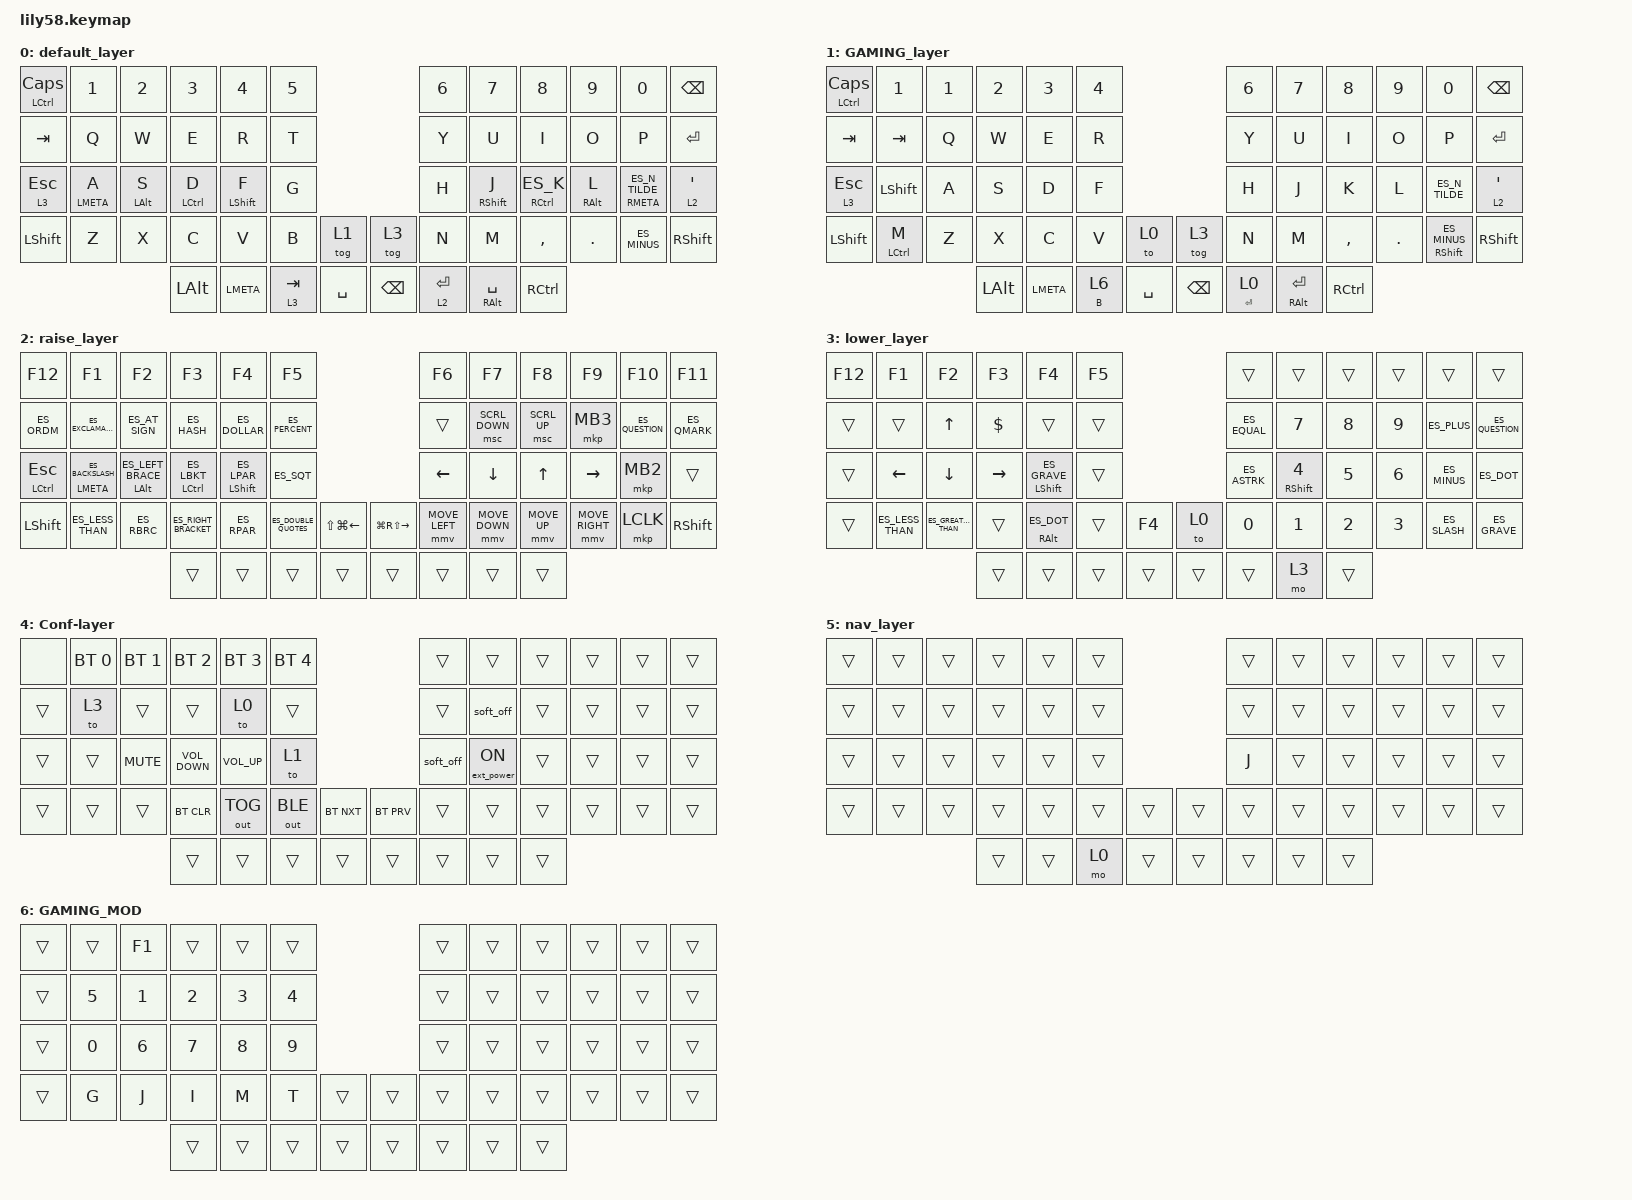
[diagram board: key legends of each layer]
/*
 * Copyright (c) 2020 The ZMK Contributors
 *
 * SPDX-License-Identifier: MIT
 */
// Spanish layout

#include "keys_es.h"
#include <behaviors.dtsi>
#include <dt-bindings/zmk/bt.h>
#include <dt-bindings/zmk/ext_power.h>
#include <dt-bindings/zmk/keys.h>
#include <dt-bindings/zmk/outputs.h>
#include <dt-bindings/zmk/pointing.h>

// Define the number of layers

#define LAYER_BASE 0
#define LAYER_RAISE 2
#define LAYER_LOWER 3
#define LAYER_GAMING 1
#define LAYER_CONF 4
#define LAYER_NAV 5

/ {
    // Combo keys are a way to combine multiple keypresses to output a different key.

    combos {
        compatible = "zmk,combos";

        combo_clear_bluetooth {
            timeout-ms = <50>; // Press all the below keys within 50ms to activate mapping
            key-positions = <52 42 0>; // Press 52=LOWER, 42=[, 0=tilde
            bindings = <&bt BT_CLR>; // activate clear bluetooth bindings for current channel
        };

        undo {
            bindings = <&kp LC(Z)>;
            key-positions = <37 38>;
            layers = <0>;
        };

        copy {
            bindings = <&kp LC(ES_C)>;
            key-positions = <38 39>;
            layers = <0>;
        };

        paste {
            bindings = <&kp LC(ES_V)>;
            key-positions = <39 40>;
            layers = <0>;
        };

        cut {
            bindings = <&kp LC(ES_X)>;
            key-positions = <38 40>;
            layers = <0>;
        };

        Caps-lock {
            bindings = <&kp CAPSLOCK>;
            key-positions = <36 49>;
            layers = <0>;
        };

        conf-layer {
            bindings = <&mo 4>;
            key-positions = <52 55>;
        };

        caps_word {
            bindings = <&caps_word>;
            key-positions = <28 31>;
            layers = <0>;
        };

        Esc {
            bindings = <&kp ESC>;
            key-positions = <14 15>;
        };

        tilde {
            bindings = <&kp ES_ACUTE>;
            key-positions = <20 21>;
        };

        G4 {
            bindings = <&kp NUMBER_4>;
            key-positions = <29 17>;
            layers = <1>;
        };

        G3 {
            bindings = <&kp NUMBER_3>;
            key-positions = <28 16>;
            layers = <1>;
        };

        G2 {
            bindings = <&kp NUMBER_2>;
            key-positions = <15 27>;
            layers = <1>;
        };

        G1 {
            bindings = <&kp N1>;
            key-positions = <14 26>;
            layers = <1>;
        };

        G5 {
            bindings = <&kp NUMBER_5>;
            key-positions = <13 25>;
            layers = <1>;
        };
    };

    behaviors {
        ht_modL: ht_modL {
            compatible = "zmk,behavior-hold-tap";
            label = "HT_MODL";
            bindings = <&kp>, <&kp>;

            #binding-cells = <2>;
            flavor = "tap-preferred";
            tapping-term-ms = <200>;
        };

        ht_hrR: ht_hrR {
            compatible = "zmk,behavior-hold-tap";
            label = "HT_HRR";
            bindings = <&kp>, <&kp>;

            #binding-cells = <2>;
            flavor = "tap-preferred";
            tapping-term-ms = <200>;
        };

        gaming_mod: gaming_mod {
            compatible = "zmk,behavior-hold-tap";
            label = "GAMING_MOD";
            bindings = <&kp>, <&sl>;

            #binding-cells = <2>;
            flavor = "tap-preferred";
            tapping-term-ms = <200>;
        };
    };

    keymap {
        compatible = "zmk,keymap";

        default_layer {
            // ------------------------------------------------------------------------------------------------------------
            // |   `      |  1  |  2  |  3   |  4   |  5   |                   |  6   |  7    |  8    |  9   |   0   |   -   |
            // |  TAB     |  Q  |  W  |  E   |  R   |  T   |                   |  Y   |  U    |  I    |  O   |   P   |   =   |
            // |hCTRL tESC|  A  |  S  |  D   |  F   |  G   |                   |  H   |  J    |  K    |  L   |   ;   |   '   |
            // | SHIFT    |  Z  |  X  |  C   |  V   |  B   |   "["  |  |  "]"  |  N   |  M    |  ,    |  .   |   /   | SHIFT |
            //                        | ALT  | GUI  | LOWER|  SPACE |  | BSPC  | ENTER| RAISE | CTRL  |

            bindings = <
&mt LEFT_CONTROL CAPSLOCK  &kp N1            &kp N2           &kp N3            &kp N4             &kp N5                                 &kp N6       &kp N7               &kp N8              &kp N9          &kp N0                    &kp BACKSPACE
&kp TAB                    &kp Q             &kp W            &kp E             &kp R              &kp T                                  &kp Y        &kp U                &kp I               &kp O           &kp P                     &kp ENTER
&lt 3 ESC                  &ht_modL LMETA A  &ht_modL LALT S  &ht_modL LCTRL D  &ht_modL LSHIFT F  &kp G                                  &kp H        &ht_hrR RSHFT J      &ht_hrR RCTRL ES_K  &ht_hrR RALT L  &ht_hrR RMETA ES_N_TILDE  &lt 2 APOS
&kp LSHFT                  &kp Z             &kp X            &kp C             &kp V              &kp B      &tog 1       &tog 3         &kp N        &kp M                &kp COMMA           &kp DOT         &kp ES_MINUS              &kp RSHFT
                                                              &kp LALT          &kp LMETA          &lt 3 TAB  &kp SPACE    &kp BACKSPACE  &lt 2 ENTER  &mt RIGHT_ALT SPACE  &kp RCTRL
            >;
        };

        GAMING_layer {
            bindings = <
&mt LEFT_CONTROL CAPSLOCK  &kp N1       &kp N1  &kp NUMBER_2  &kp NUMBER_3  &kp NUMBER_4                                 &kp N6               &kp N7               &kp N8     &kp N9   &kp N0              &kp BACKSPACE
&kp TAB                    &kp TAB      &kp Q   &kp W         &kp E         &kp R                                        &kp Y                &kp U                &kp I      &kp O    &kp P               &kp ENTER
&lt 3 ESC                  &kp LSHFT    &kp A   &kp S         &kp D         &kp F                                        &kp H                &kp J                &kp K      &kp L    &kp ES_N_TILDE      &lt 2 APOS
&kp LSHFT                  &mt LCTRL M  &kp Z   &kp X         &kp C         &kp V            &to 0        &tog 3         &kp N                &kp M                &kp COMMA  &kp DOT  &mt RSHFT ES_MINUS  &kp RSHFT
                                                &kp LALT      &kp LMETA     &gaming_mod B 6  &kp SPACE    &kp BACKSPACE  &gaming_mod ENTER 0  &mt RIGHT_ALT ENTER  &kp RCTRL
            >;
        };

        raise_layer {
            // ------------------------------------------------------------------------------------------------------------
            // |  F12    |  F1 |  F2 |  F3  |  F4  |  F5  |                   |  F6  |   F7  |   F8  |  F9  |  F10  |  F11  |
            // |   `     |  1  |  2  |  3   |  4   |  5   |                   |  6   |   7   |   8   |  9   |   0   |   -   |
            // |CTRL/ESC |     |     |      |      |      |                   |  <-  |   ^   |   v   |  ->  |       |       |
            // | SHIFT   |     |     |      |      |      |        |  |       |  +   |   -   |   =   |  [   |   ]   |   \   |
            //                       |      |      |      |        |  |       |      |       |       |

            bindings = <
&kp F12        &kp F1                       &kp F2                       &kp F3                 &kp F4                  &kp F5                                                             &kp F6          &kp F7          &kp F8        &kp F9           &kp F10          &kp F11
&kp ES_ORDM    &kp ES_EXCLAMATION           &kp ES_AT_SIGN               &kp ES_HASH            &kp ES_DOLLAR           &kp ES_PERCENT                                                     &trans          &msc SCRL_DOWN  &msc SCRL_UP  &mkp MB3         &kp ES_QUESTION  &kp ES_QMARK
&mt LCTRL ESC  &ht_modL LMETA ES_BACKSLASH  &ht_modL LALT ES_LEFT_BRACE  &ht_hrR LCTRL ES_LBKT  &ht_modL LSHFT ES_LPAR  &kp ES_SQT                                                         &kp LEFT        &kp DOWN        &kp UP        &kp RIGHT        &mkp MB2         &trans
&kp LSHIFT     &kp ES_LESS_THAN             &kp ES_RBRC                  &kp ES_RIGHT_BRACKET   &kp ES_RPAR             &kp ES_DOUBLE_QUOTES  &kp LS(LG(LEFT))    &kp LG(RS(RIGHT_ARROW))  &mmv MOVE_LEFT  &mmv MOVE_DOWN  &mmv MOVE_UP  &mmv MOVE_RIGHT  &mkp LCLK        &kp RIGHT_SHIFT
                                                                         &trans                 &trans                  &trans                &trans              &trans                   &trans          &trans          &trans
            >;
        };

        lower_layer {
            bindings = <
&kp F12  &kp F1            &kp F2               &kp F3      &kp F4                    &kp F5                    &trans        &trans                   &trans        &trans        &trans        &trans
&trans   &trans            &kp UP_ARROW         &kp DOLLAR  &trans                    &trans                    &kp ES_EQUAL  &kp N7                   &kp N8        &kp N9        &kp ES_PLUS   &kp ES_QUESTION
&trans   &kp LEFT          &kp DOWN_ARROW       &kp RIGHT   &ht_modL LSHIFT ES_GRAVE  &trans                    &kp ES_ASTRK  &ht_hrR RSHIFT NUMBER_4  &kp N5        &kp NUMBER_6  &kp ES_MINUS  &kp ES_DOT
&trans   &kp ES_LESS_THAN  &kp ES_GREATER_THAN  &trans      &ht_modL RALT ES_DOT      &trans  &kp F4    &to 0   &kp N0        &kp NUMBER_1             &kp NUMBER_2  &kp NUMBER_3  &kp ES_SLASH  &kp ES_GRAVE
                                                &trans      &trans                    &trans  &trans    &trans  &trans        &mo 3                    &trans
            >;
        };

        Conf-layer {
            bindings = <
&none   &bt BT_SEL 0  &bt BT_SEL 1  &bt BT_SEL 2       &bt BT_SEL 3     &bt BT_SEL 4                            &trans     &trans            &trans  &trans  &trans  &trans
&trans  &to 3         &trans        &trans             &to 0            &trans                                  &trans     &soft_off         &trans  &trans  &trans  &trans
&trans  &trans        &kp C_MUTE    &kp C_VOLUME_DOWN  &kp C_VOLUME_UP  &to 1                                   &soft_off  &ext_power EP_ON  &trans  &trans  &trans  &trans
&trans  &trans        &trans        &bt BT_CLR         &out OUT_TOG     &out OUT_BLE  &bt BT_NXT    &bt BT_PRV  &trans     &trans            &trans  &trans  &trans  &trans
                                    &trans             &trans           &trans        &trans        &trans      &trans     &trans            &trans
            >;
        };

        nav_layer {
            // ------------------------------------------------------------------------------------------------------------
            // | EXT PWR TOGGLE | BT1     | BT2    |  BT3 |  BT4  |  BT5 |                    |      |       |       |      |       |       |
            // |                |         |        |      |       |      |                    |      |       |       |      |       |   \   |
            // |   ~            |  !      |  @     |  #   |  $    |  %   |                    |  ^   |  &    |  *    |  (   |   )   |   _   |
            // | SHIFT          |  EP_ON  | EP_OFF |      |  (    |  {   |       |  |   DEL   |  }   |  )    |  +    |  {   |   }   | SHIFT |
            //                                     |      |       |      |       |  |         |      |       |       |

            bindings = <
&trans  &trans  &trans  &trans  &trans  &trans                    &trans  &trans  &trans  &trans  &trans  &trans
&trans  &trans  &trans  &trans  &trans  &trans                    &trans  &trans  &trans  &trans  &trans  &trans
&trans  &trans  &trans  &trans  &trans  &trans                    &kp J   &trans  &trans  &trans  &trans  &trans
&trans  &trans  &trans  &trans  &trans  &trans  &trans    &trans  &trans  &trans  &trans  &trans  &trans  &trans
                        &trans  &trans  &mo 0   &trans    &trans  &trans  &trans  &trans
            >;
        };

        GAMING_MOD {
            bindings = <
&trans  &trans  &kp F1  &trans  &trans  &trans                    &trans  &trans  &trans  &trans  &trans  &trans
&trans  &kp N5  &kp N1  &kp N2  &kp N3  &kp N4                    &trans  &trans  &trans  &trans  &trans  &trans
&trans  &kp N0  &kp N6  &kp N7  &kp N8  &kp N9                    &trans  &trans  &trans  &trans  &trans  &trans
&trans  &kp G   &kp J   &kp I   &kp M   &kp T   &trans    &trans  &trans  &trans  &trans  &trans  &trans  &trans
                        &trans  &trans  &trans  &trans    &trans  &trans  &trans  &trans
            >;
        };
    };

    conditional_layers { compatible = "zmk,conditional-layers"; };
};
